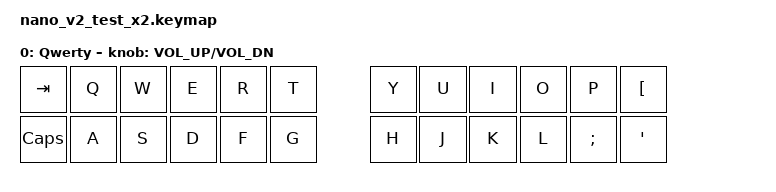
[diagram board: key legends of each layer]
/*
 * Copyright (c) 2023 The ZMK Contributors
 *
 * SPDX-License-Identifier: MIT
 */

#include <behaviors.dtsi>
#include <dt-bindings/zmk/keys.h>
#include <dt-bindings/zmk/bt.h>
#include <dt-bindings/zmk/ext_power.h>
#include <dt-bindings/zmk/rgb.h>


/ {

    keymap {
        compatible = "zmk,keymap";

        qwerty_layer {
//  ---------------------------------------------------------------------------------
//  |TAB |Q|W|E|R|T|    |Y|U|I|O|P   |LBKT|
//  |CAPS|A|S|D|F|G|    |H|J|K|L|SEMI|SQT |


            bindings = <
&kp TAB   &kp Q  &kp W  &kp E  &kp R  &kp T          &kp Y  &kp U  &kp I  &kp O  &kp P     &kp LBKT  
&kp CAPS  &kp A  &kp S  &kp D  &kp F  &kp G          &kp H  &kp J  &kp K  &kp L  &kp SEMI  &kp SQT   

            >;
            label = "Qwerty";
            sensor-bindings = <&inc_dec_kp C_VOL_UP C_VOL_DN>;
        };
 
    };
};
